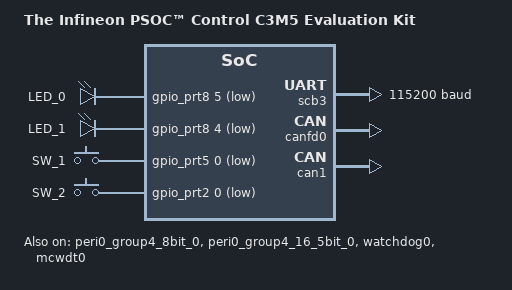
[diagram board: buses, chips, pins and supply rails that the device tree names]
/*
 * SPDX-FileCopyrightText: <text>Copyright (c) 2026 Infineon Technologies AG,
 * or an affiliate of Infineon Technologies AG. All rights reserved.</text>
 *
 * SPDX-License-Identifier: Apache-2.0
 */

/*
 * Common devicetree content for the kit_psc3m5_evk secure board variants.
 */

#include <zephyr/dt-bindings/input/input-event-codes.h>

/ {
	model = "The Infineon PSOC™ Control C3M5 Evaluation Kit";
	compatible = "infineon,kit_psc3m5_evk", "infineon,PSC3M5";

	aliases {
		led0 = &user_led0;
		led1 = &user_led1;
		sw0 = &user_bt0;
		sw1 = &user_bt1;
		watchdog0 = &watchdog0;
	};

	leds {
		compatible = "gpio-leds";

		user_led0: led_0 {
			label = "LED_0";
			gpios = <&gpio_prt8 5 GPIO_ACTIVE_LOW>;
		};

		user_led1: led_1 {
			label = "LED_1";
			gpios = <&gpio_prt8 4 GPIO_ACTIVE_LOW>;
		};
	};

	gpio_keys {
		compatible = "gpio-keys";

		user_bt0: user_btn0 {
			label = "SW_1";
			gpios = <&gpio_prt5 0 (GPIO_PULL_UP | GPIO_ACTIVE_LOW)>;
			zephyr,code = <INPUT_KEY_0>;
		};

		user_bt1: user_btn1 {
			label = "SW_2";
			gpios = <&gpio_prt2 0 (GPIO_PULL_UP | GPIO_ACTIVE_LOW)>;
			zephyr,code = <INPUT_KEY_1>;
		};
	};
};

&gpio_prt0 {
	status = "okay";
};

&gpio_prt1 {
	status = "okay";
};

&gpio_prt2 {
	status = "okay";
};

&gpio_prt3 {
	status = "okay";
};

&gpio_prt5 {
	status = "okay";
};

&gpio_prt6 {
	status = "okay";
};

&gpio_prt8 {
	status = "okay";
};

uart3: &scb3 {
	compatible = "infineon,uart";
	status = "okay";
	current-speed = <115200>;

	/* Leaf peripheral (baud) divider owned by the UART driver. */
	clocks = <&peri0_group4_8bit_0>;

	/*
	 * Shared source clock (clk_hf2) owned by the clock-management framework.
	 * The driver applies the default state to bring up path_mux2 -> dpll_lp1
	 * -> clk_hf2 and reads the resulting rate through clock management.
	 */
	clock-outputs = <&clk_hf2_output>;
	clock-output-names = "periclk";
	clock-state-0 = <&clk_hf2_default>;
	clock-state-names = "default";

	pinctrl-0 = <&p6_3_scb3_uart_tx &p6_2_scb3_uart_rx &p6_1_scb3_uart_rts &p6_0_scb3_uart_cts>;
	pinctrl-names = "default";
};

&peri0_group4_8bit_0 {
	status = "okay";
	clock-div = <86>;
};

&peri0_group4_16_5bit_0 {
	status = "okay";
	clock-div = <1>;
};

&canfd0 {
	status = "okay";
};

&can1 {
	status = "okay";
	clocks = <&peri0_group4_16_5bit_0>;
	pinctrl-0 = <&p5_2_can1_rx &p5_3_can1_tx>;
	pinctrl-names = "default";
};

&watchdog0 {
	status = "okay";
};

&mcwdt0 {
	status = "okay";
};

/*
 * The full clock tree (sources, path muxes, FLL, DPLLs, clk_hf roots, and
 * low-frequency domains) is modelled at SoC scope in system_clocks_cm.dtsi.
 * The board only overrides the peripheral divider defaults above and declares
 * the CPU system-clock consumer below.
 */

/*
 * The CPU is the consumer of the system clock (clk_hf0). The SoC init applies
 * this state at boot to bring the core up to 180 MHz, since an always-on system
 * clock has no peripheral driver to own it.
 */
&cpu0 {
	clock-outputs = <&clk_hf0_output>;
	clock-output-names = "default";
	clock-state-0 = <&clk_hf0_default>;
	clock-state-names = "default";
};
